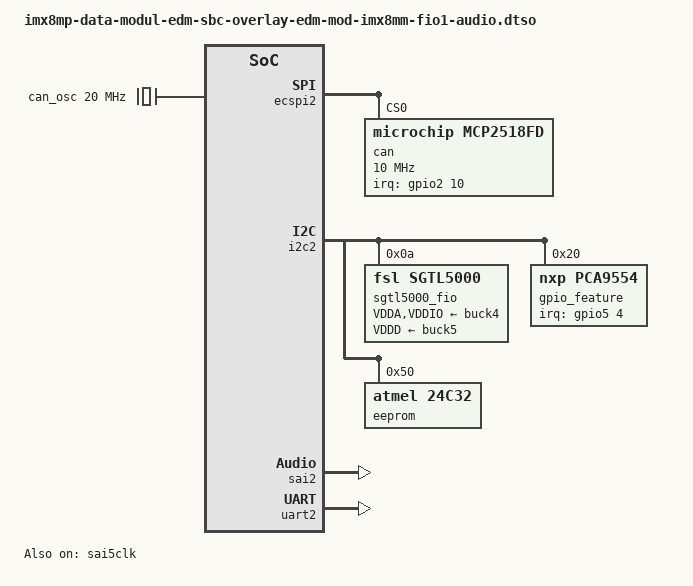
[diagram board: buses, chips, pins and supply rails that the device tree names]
// SPDX-License-Identifier: (GPL-2.0+ OR MIT)
/*
 * Copyright 2024-2026 Marek Vasut
 */
/dts-v1/;
/plugin/;

#include <dt-bindings/clock/imx8mp-clock.h>
#include <dt-bindings/gpio/gpio.h>
#include <dt-bindings/interrupt-controller/arm-gic.h>

#include "imx8mp-pinfunc.h"

&{/} {
	can_osc: can-osc {
		compatible = "fixed-clock";
		#clock-cells = <0>;
		clock-frequency = <20000000>;
	};

	sound-fio {
		compatible = "simple-audio-card";
		simple-audio-card,name = "SGTL5000-FIO1";
		simple-audio-card,format = "i2s";
		simple-audio-card,bitclock-master = <&codec_dai_fio>;
		simple-audio-card,frame-master = <&codec_dai_fio>;
		simple-audio-card,widgets = "Headphone", "Headphone Jack";
		simple-audio-card,routing = "Headphone Jack", "HP_OUT";

		cpu_dai_fio: simple-audio-card,cpu {
			sound-dai = <&sai2>;
		};

		codec_dai_fio: simple-audio-card,codec {
			sound-dai = <&sgtl5000_fio>;
		};
	};
};

&ecspi2 {
	#address-cells = <1>;
	#size-cells = <0>;
	status = "okay";

	can@0 {
		compatible = "microchip,mcp2518fd";
		reg = <0>;
		clocks = <&can_osc>;
		interrupts-extended = <&gpio2 10 IRQ_TYPE_LEVEL_LOW>;
		spi-max-frequency = <10000000>;
	};
};

&i2c2 {	/* Feature connector I2C */
	#address-cells = <1>;
	#size-cells = <0>;

	sgtl5000_fio: codec@a {
		#sound-dai-cells = <0>;
		clocks = <&sai5clk 1>;
		compatible = "fsl,sgtl5000";
		reg = <0x0a>;
		VDDA-supply = <&buck4>;
		VDDD-supply = <&buck5>;
		VDDIO-supply = <&buck4>;
	};

	gpio_feature: io-expander@20 {
		compatible = "nxp,pca9554";
		reg = <0x20>;
		#gpio-cells = <2>;
		gpio-controller;
		#interrupt-cells = <2>;
		interrupt-controller;
		interrupt-parent = <&gpio5>;
		interrupts = <4 IRQ_TYPE_LEVEL_LOW>;
		gpio-line-names =
			"GPI0", "GPI1", "GPI2", "GPI3",
			"GPO0", "GPO1", "GPO2", "GPO3";
	};

	eeprom@50 {
		compatible = "atmel,24c32";
		reg = <0x50>;
		pagesize = <32>;
	};
};

&iomuxc {
	pinctrl_codec_mclk: codec-mclk_feature-grp {
		fsl,pins = <
			MX8MP_IOMUXC_SAI2_MCLK__AUDIOMIX_SAI5_MCLK	0xd6
		>;
	};

	sai2-grp {
		fsl,pins = <
			MX8MP_IOMUXC_SAI2_TXFS__AUDIOMIX_SAI2_TX_SYNC	0xd6
			MX8MP_IOMUXC_SAI2_TXD0__AUDIOMIX_SAI2_TX_DATA00	0xd6
			MX8MP_IOMUXC_SAI2_TXC__AUDIOMIX_SAI2_TX_BCLK	0xd6
			MX8MP_IOMUXC_SAI2_RXD0__AUDIOMIX_SAI2_RX_DATA00	0xd6
		>;
	};

	uart1-grp {
		fsl,pins = <
			MX8MP_IOMUXC_SD1_CLK__UART1_DCE_TX		0x49
			MX8MP_IOMUXC_SD1_CMD__UART1_DCE_RX		0x49
			MX8MP_IOMUXC_SD1_DATA1__UART1_DCE_CTS		0x49
		>;
	};
};

&sai2 {
	pinctrl-names = "default";
	pinctrl-0 = <&pinctrl_sai2>;
	assigned-clocks = <&clk IMX8MP_CLK_SAI2>;
	assigned-clock-parents = <&clk IMX8MP_AUDIO_PLL2_OUT>;
	assigned-clock-rates = <24576000>;
	fsl,sai-asynchronous;
	fsl,sai-mclk-direction-output;
	status = "okay";
};

&spba5 {
	#address-cells = <1>;
	#size-cells = <1>;

	sai5clk: clock-controller@30c50000 {
		compatible = "fsl,imx8mp-sai-clock", "fsl,imx8mq-sai-clock";
		reg = <0x30c50000 0x10000>;
		#clock-cells = <1>;
		clocks = <&audio_blk_ctrl IMX8MP_CLK_AUDIOMIX_SAI5_IPG>,
			 <&audio_blk_ctrl IMX8MP_CLK_AUDIOMIX_SAI5_MCLK1>;
		clock-names = "bus", "mclk1";
		pinctrl-names = "default";
		pinctrl-0 = <&pinctrl_codec_mclk>;
		status = "okay";
	};
};

&uart2 {	/* RS422 J12 */
	linux,rs485-enabled-at-boot-time;
	uart-has-rtscts;
	status = "okay";
};

/* UART4 is blocked by RDC and used as CM4 console UART */
&uart4 {	/* UART to 1-Wire J5 */
	status = "disabled";
};
